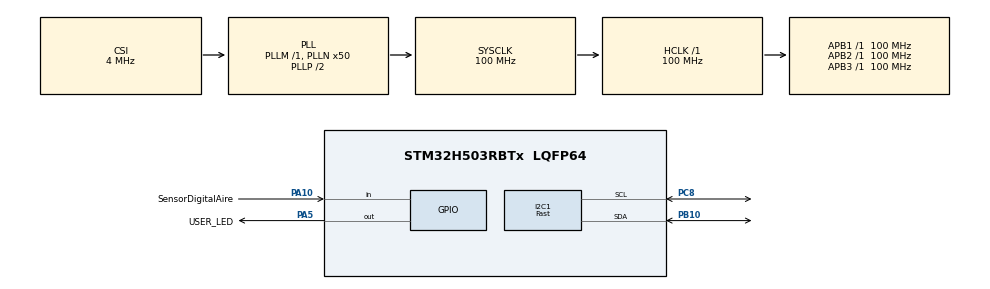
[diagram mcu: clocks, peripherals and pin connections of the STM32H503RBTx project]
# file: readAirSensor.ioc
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BOOTPATH.BootPathName=LEGACY
BOOTPATH.UserSelectedBootPath=LEGACY
I2C1.I2C_Speed_Mode=I2C_Fast
I2C1.Timing=0x009034B6
Mcu.Family=STM32H5
Mcu.Name=STM32H503RBTx
Mcu.Package=LQFP64
NVIC.PriorityGroup=NVIC_PRIORITYGROUP_4
NVIC.TIM6_IRQn=true\:0\:0\:false\:false\:true\:true\:true\:true
PA10.GPIO_Label=SensorDigitalAire
PA10.Signal=GPIO_Input
PA5.GPIO_Label=USER_LED
PA5.GPIO_Speed=GPIO_SPEED_FREQ_VERY_HIGH
PA5.PinState=GPIO_PIN_RESET
PA5.Signal=GPIO_Output
PB10.Mode=I2C
PB10.Signal=I2C1_SDA
PC8.Mode=I2C
PC8.Signal=I2C1_SCL
ProjectManager.HeapSize=0x200
ProjectManager.StackSize=0x400
ProjectManager.TargetToolchain=STM32CubeIDE
RCC.ADCFreq_Value=100000000
RCC.AHBFreq_Value=100000000
RCC.APB1Freq_Value=100000000
RCC.APB1TimFreq_Value=100000000
RCC.APB2Freq_Value=100000000
RCC.APB2TimFreq_Value=100000000
RCC.APB3Freq_Value=100000000
RCC.CSI_VALUE=4000000
RCC.CortexFreq_Value=100000000
RCC.EPOD_VALUE=4000000
RCC.HCLKFreq_Value=100000000
RCC.HSE_VALUE=25000000
RCC.HSI48_VALUE=48000000
RCC.HSI_VALUE=64000000
RCC.LSE_VALUE=32768
RCC.LSIRC_VALUE=32000
RCC.PLL2FRACN=0
RCC.PLLFRACN=0
RCC.PLLN=50
RCC.SYSCLKFreq_VALUE=100000000
RCC.SYSCLKSource=RCC_SYSCLKSOURCE_PLLCLK
RCC.USBFreq_Value=48000000
RCC.VCOOutputFreq_Value=200000000
TIM6.PeriodNoDither=9999
TIM6.Prescaler=9999
VP_BOOTPATH_VS_BOOTPATH.Mode=BP_Activate
VP_CORTEX_M33_NS_VS_Hclk.Mode=Hclk_Mode
VP_MEMORYMAP_VS_MEMORYMAP.Mode=CurAppReg
VP_PWR_VS_LPOM.Mode=PowerOptimisation
VP_PWR_VS_SECSignals.Mode=Security/Privilege
VP_TIM6_VS_ClockSourceINT.Mode=Enable_Timer
board=custom

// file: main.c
/* USER CODE BEGIN Header */
/**
  ******************************************************************************
  * @file           : main.c
  * @brief          : Main program body
  ******************************************************************************
  * @attention
  *
  * Copyright (c) 2025 STMicroelectronics.
  * All rights reserved.
  *
  * This software is licensed under terms that can be found in the LICENSE file
  * in the root directory of this software component.
  * If no LICENSE file comes with this software, it is provided AS-IS.
  *
  ******************************************************************************
  */
/* USER CODE END Header */
#include "main.h"

/* USER CODE BEGIN PD */

#define BME280_I2C_ADDRESS (0x76<<1) // por default segun la PCB que tenemos
#define BME280_REG_CHIP_ID 0xD0
#define BME280_REG_RESET 0xE0
#define BME280_REG_CTRL_HUM 0xF2
#define BME280_REG_STATUS 0xF3
#define BME280_REG_CTRL_MEAS 0xF4
#define BME280_REG_CONFIG 0xF5
#define BME280_REG_T1 0x88
#define BME280_REG_T2 0x8A
#define BME280_REG_T3 0x8C
#define BME280_REG_TEMP_MSB 0xFA
#define BME280_CHIP_ID_VALUE 0x60

/* USER CODE END PD */

I2C_HandleTypeDef hi2c1;

TIM_HandleTypeDef htim6;

/* USER CODE BEGIN PV */

typedef struct{
	uint16_t dig_T1;
	int16_t dig_T2;
	int16_t dig_T3;
}BME_Calibration_Data;

typedef struct{
	uint8_t ID;
	uint8_t deviceReady;
	BME_Calibration_Data coeficientes;
	float temperature;
}BME_Config;

static BME_Config devBME280;
static uint8_t bmeTempRawBuf[3];

/* USER CODE END PV */

void SystemClock_Config(void);
static void MX_GPIO_Init(void);
static void MX_TIM6_Init(void);
static void MX_I2C1_Init(void);
/* USER CODE BEGIN PFP */
uint8_t readDigitalValueAir(void);
uint8_t readTempSensor();
void TempSensGoToNormal(void);
void checkTempSensorID(void);
static int BME280_ReadCalibration(void);
static void BME280_ProcessTemperature(int32_t rawTemp);
static void BME280_Init(void);
static float BME280_ReadTemperature(void);

/* USER CODE END PFP */

int main(void)
{

  /* MCU Configuration--------------------------------------------------------*/

  /* Reset of all peripherals, Initializes the Flash interface and the Systick. */
  HAL_Init();

  /* Configure the system clock */
  SystemClock_Config();

  /* Initialize all configured peripherals */
  MX_GPIO_Init();
  MX_TIM6_Init();
  MX_I2C1_Init();
  /* USER CODE BEGIN 2 */
  BME280_Init();
  HAL_TIM_Base_Start_IT(&htim6);
  /* USER CODE END 2 */

  /* Infinite loop */
  while (1)
  {

  }
}

void SystemClock_Config(void)
{
  RCC_OscInitTypeDef RCC_OscInitStruct = {0};
  RCC_ClkInitTypeDef RCC_ClkInitStruct = {0};

  /** Configure the main internal regulator output voltage
  */
  __HAL_PWR_VOLTAGESCALING_CONFIG(PWR_REGULATOR_VOLTAGE_SCALE3);

  while(!__HAL_PWR_GET_FLAG(PWR_FLAG_VOSRDY)) {}

  /** Initializes the RCC Oscillators according to the specified parameters
  * in the RCC_OscInitTypeDef structure.
  */
  RCC_OscInitStruct.OscillatorType = RCC_OSCILLATORTYPE_CSI;
  RCC_OscInitStruct.CSIState = RCC_CSI_ON;
  RCC_OscInitStruct.CSICalibrationValue = RCC_CSICALIBRATION_DEFAULT;
  RCC_OscInitStruct.PLL.PLLState = RCC_PLL_ON;
  RCC_OscInitStruct.PLL.PLLSource = RCC_PLL1_SOURCE_CSI;
  RCC_OscInitStruct.PLL.PLLM = 1;
  RCC_OscInitStruct.PLL.PLLN = 50;
  RCC_OscInitStruct.PLL.PLLP = 2;
  RCC_OscInitStruct.PLL.PLLQ = 2;
  RCC_OscInitStruct.PLL.PLLR = 2;
  RCC_OscInitStruct.PLL.PLLRGE = RCC_PLL1_VCIRANGE_2;
  RCC_OscInitStruct.PLL.PLLVCOSEL = RCC_PLL1_VCORANGE_WIDE;
  RCC_OscInitStruct.PLL.PLLFRACN = 0;
  if (HAL_RCC_OscConfig(&RCC_OscInitStruct) != HAL_OK)
  {
    Error_Handler();
  }

  /** Initializes the CPU, AHB and APB buses clocks
  */
  RCC_ClkInitStruct.ClockType = RCC_CLOCKTYPE_HCLK|RCC_CLOCKTYPE_SYSCLK
                              |RCC_CLOCKTYPE_PCLK1|RCC_CLOCKTYPE_PCLK2
                              |RCC_CLOCKTYPE_PCLK3;
  RCC_ClkInitStruct.SYSCLKSource = RCC_SYSCLKSOURCE_PLLCLK;
  RCC_ClkInitStruct.AHBCLKDivider = RCC_SYSCLK_DIV1;
  RCC_ClkInitStruct.APB1CLKDivider = RCC_HCLK_DIV1;
  RCC_ClkInitStruct.APB2CLKDivider = RCC_HCLK_DIV1;
  RCC_ClkInitStruct.APB3CLKDivider = RCC_HCLK_DIV1;

  if (HAL_RCC_ClockConfig(&RCC_ClkInitStruct, FLASH_LATENCY_4) != HAL_OK)
  {
    Error_Handler();
  }

  /** Configure the programming delay
  */
  __HAL_FLASH_SET_PROGRAM_DELAY(FLASH_PROGRAMMING_DELAY_2);
}

static void MX_I2C1_Init(void)
{

  hi2c1.Instance = I2C1;
  hi2c1.Init.Timing = 0x009034B6;
  hi2c1.Init.OwnAddress1 = 0;
  hi2c1.Init.AddressingMode = I2C_ADDRESSINGMODE_7BIT;
  hi2c1.Init.DualAddressMode = I2C_DUALADDRESS_DISABLE;
  hi2c1.Init.OwnAddress2 = 0;
  hi2c1.Init.OwnAddress2Masks = I2C_OA2_NOMASK;
  hi2c1.Init.GeneralCallMode = I2C_GENERALCALL_DISABLE;
  hi2c1.Init.NoStretchMode = I2C_NOSTRETCH_DISABLE;
  if (HAL_I2C_Init(&hi2c1) != HAL_OK)
  {
    Error_Handler();
  }

  /** Configure Analogue filter
  */
  if (HAL_I2CEx_ConfigAnalogFilter(&hi2c1, I2C_ANALOGFILTER_ENABLE) != HAL_OK)
  {
    Error_Handler();
  }

  /** Configure Digital filter
  */
  if (HAL_I2CEx_ConfigDigitalFilter(&hi2c1, 0) != HAL_OK)
  {
    Error_Handler();
  }

}

static void MX_TIM6_Init(void)
{

  TIM_MasterConfigTypeDef sMasterConfig = {0};

  htim6.Instance = TIM6;
  htim6.Init.Prescaler = 9999;
  htim6.Init.CounterMode = TIM_COUNTERMODE_UP;
  htim6.Init.Period = 9999;
  htim6.Init.AutoReloadPreload = TIM_AUTORELOAD_PRELOAD_DISABLE;
  if (HAL_TIM_Base_Init(&htim6) != HAL_OK)
  {
    Error_Handler();
  }
  sMasterConfig.MasterOutputTrigger = TIM_TRGO_RESET;
  sMasterConfig.MasterSlaveMode = TIM_MASTERSLAVEMODE_DISABLE;
  if (HAL_TIMEx_MasterConfigSynchronization(&htim6, &sMasterConfig) != HAL_OK)
  {
    Error_Handler();
  }

}

static void MX_GPIO_Init(void)
{
  GPIO_InitTypeDef GPIO_InitStruct = {0};

  /* GPIO Ports Clock Enable */
  __HAL_RCC_GPIOA_CLK_ENABLE();
  __HAL_RCC_GPIOB_CLK_ENABLE();
  __HAL_RCC_GPIOC_CLK_ENABLE();

  /*Configure GPIO pin Output Level */
  HAL_GPIO_WritePin(USER_LED_GPIO_Port, USER_LED_Pin, GPIO_PIN_RESET);
// cuidado de que no este en set
  /*Configure GPIO pin : USER_LED_Pin */
  GPIO_InitStruct.Pin = USER_LED_Pin;
  GPIO_InitStruct.Mode = GPIO_MODE_OUTPUT_PP;
  GPIO_InitStruct.Pull = GPIO_NOPULL;
  GPIO_InitStruct.Speed = GPIO_SPEED_FREQ_VERY_HIGH;
  HAL_GPIO_Init(USER_LED_GPIO_Port, &GPIO_InitStruct);

  /*Configure GPIO pin : SensorDigitalAire_Pin */
  GPIO_InitStruct.Pin = SensorDigitalAire_Pin;
  GPIO_InitStruct.Mode = GPIO_MODE_INPUT;
  GPIO_InitStruct.Pull = GPIO_NOPULL;
  HAL_GPIO_Init(SensorDigitalAire_GPIO_Port, &GPIO_InitStruct);

}

/* USER CODE BEGIN 4 */

uint8_t readDigitalValueAir(){
	GPIO_PinState state = HAL_GPIO_ReadPin(SensorDigitalAire_GPIO_Port, SensorDigitalAire_Pin);
	if (state == GPIO_PIN_RESET){
		return 1u;
	}
	else{
		return 0u;
	}
}
//Reutilizando código de practicas y proyectos anteriores en C

static int BME280_ReadCalibration(void){
	uint8_t buf[6] = {0};

	if (HAL_I2C_Mem_Read(&hi2c1, BME280_I2C_ADDRESS, BME280_REG_T1, 1, buf, 6, 100) != HAL_OK){
		devBME280.deviceReady = 0u;
		return -1;
	}
	devBME280.coeficientes.dig_T1= (uint16_t)(buf[0] | (buf[1]<< 8));
	devBME280.coeficientes.dig_T2= (int16_t)(buf[2] | (buf[3]<< 8));
	devBME280.coeficientes.dig_T3= (int16_t)(buf[4] | (buf[5]<< 8));
	return 0;
}

static void BME280_ProcessTemperature(int32_t rawTemp){
	int32_t var1 = 0;
	int32_t var2 = 0;
	int32_t resultTemp = 0;
	int32_t t_fine = 0;

	var1 = ((((rawTemp >> 3)- ((int32_t)devBME280.coeficientes.dig_T1 << 1))*(int32_t)devBME280.coeficientes.dig_T2) >> 11);

	var2 = (((((rawTemp >> 4) - (int32_t)devBME280.coeficientes.dig_T1)* ((rawTemp >> 4)- (int32_t)devBME280.coeficientes.dig_T1)) >> 12)* (int32_t)devBME280.coeficientes.dig_T3) >> 14;

	resultTemp= var1 + var2;
	t_fine= resultTemp;
	(void)t_fine;
	resultTemp= (resultTemp*5 + 128)>> 8;

	devBME280.temperature = ((float)resultTemp)/100.0f;
}

static void BME280_Init(void){
	uint8_t chip_id = 0;
	uint8_t reset_cmd = 0xB6;
	uint8_t ctrl_hum = 0x01;
	uint8_t config= 0x00;
	uint8_t ctrl_meas = 0x27;
	devBME280.deviceReady = 0u;
	devBME280.temperature = 0.0f;

	HAL_Delay(10);
	if (HAL_I2C_Mem_Read(&hi2c1, BME280_I2C_ADDRESS, BME280_REG_CHIP_ID, 1, &chip_id, 1, 100) != HAL_OK){
		return;
	}

	devBME280.ID = chip_id;
	if (chip_id != BME280_CHIP_ID_VALUE){
		return;
	}
	if (HAL_I2C_Mem_Write(&hi2c1, BME280_I2C_ADDRESS, BME280_REG_RESET, 1, &reset_cmd, 1, 100) != HAL_OK){
		return;
	}
	HAL_Delay(10);
	if (BME280_ReadCalibration() != 0){
		return;
	}

	HAL_I2C_Mem_Write(&hi2c1, BME280_I2C_ADDRESS, BME280_REG_CTRL_HUM, 1, &ctrl_hum, 1, 50);
	HAL_I2C_Mem_Write(&hi2c1, BME280_I2C_ADDRESS, BME280_REG_CONFIG, 1, &config, 1, 50);
	HAL_I2C_Mem_Write(&hi2c1, BME280_I2C_ADDRESS, BME280_REG_CTRL_MEAS, 1, &ctrl_meas, 1, 50);
	devBME280.deviceReady = 1u;
}

static float BME280_ReadTemperature(void){
	if(devBME280.deviceReady == 0u){
		return -100.0f;
	}
	if(HAL_I2C_Mem_Read(&hi2c1, BME280_I2C_ADDRESS, BME280_REG_TEMP_MSB, 1, bmeTempRawBuf, 3, 100) != HAL_OK){
		return -100.0f;
	}
	// buffer para leer los 3 bytes de info necesarias
	uint8_t tOneData   = bmeTempRawBuf[0];
	uint8_t tTwoData   = bmeTempRawBuf[1];
	uint8_t tThreeData = bmeTempRawBuf[2];
	int32_t rawTemp = ((int32_t)tOneData << 12) | ((int32_t)tTwoData << 4) | (tThreeData >> 4);
	BME280_ProcessTemperature(rawTemp);
	return devBME280.temperature;
}

void HAL_TIM_PeriodElapsedCallback(TIM_HandleTypeDef *htim){
	if(htim->Instance == TIM6){
		uint8_t mqState = readDigitalValueAir();
		float tempC = BME280_ReadTemperature();

		if ((mqState == 1u) && (tempC >= 45.0f)){//si hay gases detectados en el umbral actual y la temperatura es mayor o igual a 45 C°
			HAL_GPIO_WritePin(USER_LED_GPIO_Port, USER_LED_Pin, 1); //Activa LED (se usará buzzer en futura implementación)
		}
		else{
			HAL_GPIO_WritePin(USER_LED_GPIO_Port, USER_LED_Pin, 0);
		}
	}
}

/* USER CODE END 4 */

void Error_Handler(void)
{
  __disable_irq();
  while (1)
  {
  }
}
